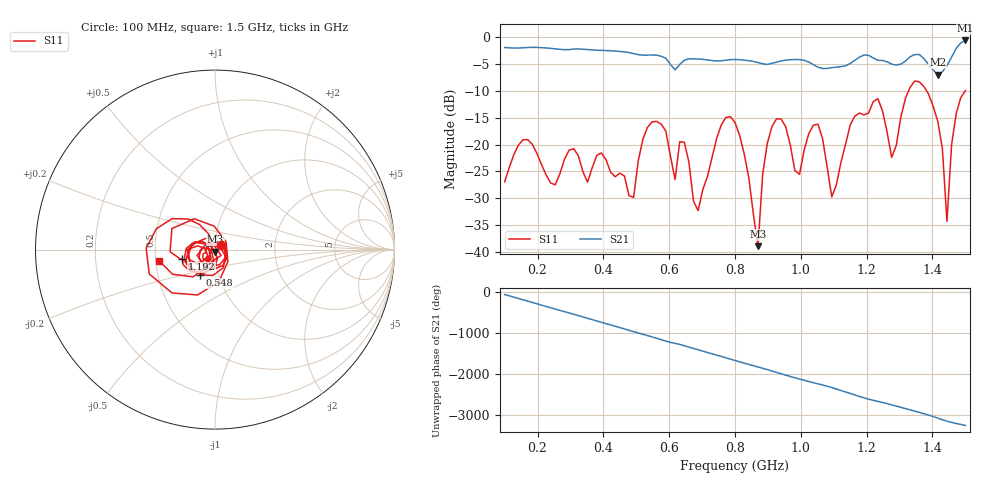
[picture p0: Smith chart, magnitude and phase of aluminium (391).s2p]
! NanoVNA-App
! Date: 2025-09-25 14:58:19
! Start: 100MHz Stop: 1,5GHz Points: 101
! S-Parameter data: F S11 S21 S12 S22
# Hz S RI R 50
!  Frequency  S11_Real  S11_Imag  S21_Real  S21_Imag  S12_Real  S12_Imag  S22_Real  S22_Imag
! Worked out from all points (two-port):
!   101 points, 100 MHz to 1.5 GHz, reference 50 ohm
!   highest |S21| = -0.61 dB at 1.5 GHz (marker M1); lowest = -7.0 dB at 1.416 GHz (marker M2)
!   |S21| within 3 dB of the highest: start of sweep to 577.9 MHz; 1.459 GHz to end of sweep (the widest 2 of 4)
!   lowest |S11| = -38.9 dB at 870 MHz (marker M3), VSWR 1.02, Z = 50.2 - j1.11 ohm
!   |S11| at or under -10 dB: start of sweep to 1.328 GHz; 1.382 GHz to 1.5 GHz (117.6 MHz wide, 8.16 % of centre)
!   S12 and S22 are empty: the file has one direction only
!   S11 on the Smith chart (normalised r, x): 100 MHz: 1.07, +0.06; 548 MHz: 0.82, -0.24; 1.192 GHz: 0.69, -0.07; 1.5 GHz: 0.52, -0.07
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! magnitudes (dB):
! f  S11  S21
! 100 MHz  -27.0  -1.9
! 156 MHz  -19.1  -2.0
! 338 MHz  -25.1  -2.2
! 492 MHz  -29.9  -3.1
! 548 MHz  -15.8  -3.3
! 576 MHz  -16.2  -3.6
! 646 MHz  -19.6  -4.3
! 688 MHz  -32.3  -4.1
! 800 MHz  -15.9  -4.2
! 870 MHz  -38.9  -4.7
! 912 MHz  -16.7  -4.9
! 996 MHz  -25.5  -4.2
! 1.038 GHz  -16.4  -5.1
! 1.094 GHz  -29.8  -5.7
! 1.192 GHz  -14.5  -3.3
! 1.234 GHz  -11.5  -4.3
! 1.276 GHz  -22.4  -5.0
! 1.346 GHz  -8.2  -3.2
! 1.416 GHz  -15.7  -7.0
! 1.444 GHz  -34.3  -5.3
! 1.458 GHz  -20.1  -3.7
! 1.5 GHz  -10.0  -0.6
